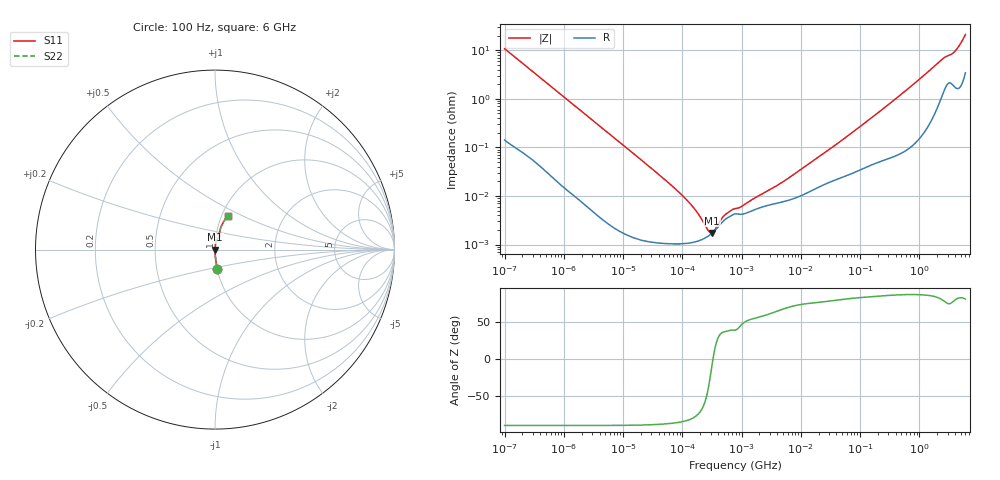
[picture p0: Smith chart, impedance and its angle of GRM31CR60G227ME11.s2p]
!Murata Part Number: GRM31CR60G227ME11
!These Parameters are Measured in Series Mode Connection
!Data Generated on Mar 30, 2021
!  o--ll--o
!Port1  Port2
!  o------o
!Operation Temp=25[degC], DC Bias Voltage=0[V]
!Freq. Start=100[Hz] Stop=6[GHz] 401[Steps]
# Hz S RI R 50
!Freq.(Hz) S11(Real) S11(Imag) S21(Real) S21(Imag) S12(Real) S12(Imag) S22(Real) S22(Imag)
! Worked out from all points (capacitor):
!   401 points, 100 Hz to 6 GHz, reference 50 ohm
!   read as one part in series: C = 148 uF near 109 Hz
!   lowest |Z| = 1.72 mohm at 316.4 kHz (marker M1)
!   series resonance near 328.9 kHz, so ESL is about 1.6 nH
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100  0.0128 -0.1061  0.9872 0.1061  0.9872 0.1061  0.0128 -0.1061
120  0.00921 -0.0891  0.9908 0.0891  0.9908 0.0891  0.00921 -0.0891
320  0.00166 -0.0339  0.9983 0.0339  0.9983 0.0339  0.00166 -0.0339
2008  0.000105 -0.0055  0.9999 0.0055  0.9999 0.0055  0.000105 -0.0055
40335  1.08e-05 -0.000274  1 0.000274  1 0.000274  1.08e-05 -0.000274
94437  1.04e-05 -0.000109  1 0.000109  1 0.000109  1.04e-05 -0.000109
103284  1.04e-05 -9.79e-05  1 9.79e-05  1 9.79e-05  1.04e-05 -9.79e-05
112960  1.05e-05 -8.76e-05  1 8.76e-05  1 8.76e-05  1.05e-05 -8.76e-05
316350  1.7e-05 -2.6e-06  1 2.6e-06  1 2.6e-06  1.7e-05 -2.6e-06
774597  4.27e-05 3.44e-05  1 -3.44e-05  1 -3.44e-05  4.27e-05 3.44e-05
1734173  5.31e-05 7.64e-05  0.9999 -7.64e-05  0.9999 -7.64e-05  5.31e-05 7.64e-05
2074311  5.75e-05 8.79e-05  0.9999 -8.79e-05  0.9999 -8.79e-05  5.75e-05 8.79e-05
4856642  7.51e-05 0.000176  0.9999 -0.000176  0.9999 -0.000176  7.51e-05 0.000176
1.555665e7  0.00013 0.000497  0.9999 -0.000497  0.9999 -0.000497  0.00013 0.000497
5.449875e7  0.000253 0.00151  0.9997 -0.00151  0.9997 -0.00151  0.000253 0.00151
3.124326e8  0.000655 0.00782  0.9993 -0.00782  0.9993 -0.00782  0.000655 0.00782
1.000774e9  0.00213 0.025  0.9979 -0.025  0.9979 -0.025  0.00213 0.025
2.34314e9  0.0138 0.0601  0.9862 -0.0601  0.9862 -0.0601  0.0138 0.0601
3.8344e9  0.0251 0.0842  0.9749 -0.0842  0.9749 -0.0842  0.0251 0.0842
4.385646e9  0.0268 0.1032  0.9732 -0.1032  0.9732 -0.1032  0.0268 0.1032
5.486059e9  0.0479 0.1551  0.9521 -0.1551  0.9521 -0.1551  0.0479 0.1551
6e9  0.0706 0.1866  0.9294 -0.1866  0.9294 -0.1866  0.0706 0.1866
